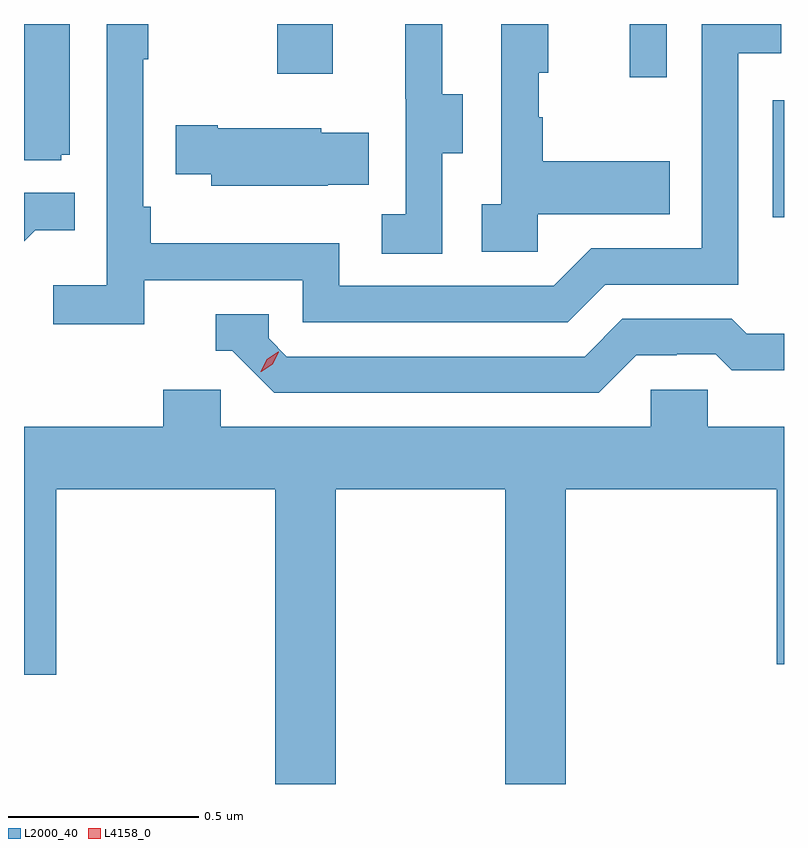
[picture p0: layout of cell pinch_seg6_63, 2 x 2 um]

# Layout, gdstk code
import gdstk
lib = gdstk.Library(unit=1e-6, precision=1e-09)
def R(c, l, rs):  # rectangles x0, y0, x1, y1
    for r in rs: c.add(gdstk.rectangle(r[:2], r[2:], *l))
def P(c, l, *ps):  # polygons
    for p in ps: c.add(gdstk.Polygon(p, *l))
L2000_40 = (2000, 40)
L4158_0 = (4158, 0)

pinch_seg6_63 = lib.new_cell('pinch_seg6_63')
R(pinch_seg6_63, L2000_40, [(1000.296,938.727,1000.326,939.036), (999.92,939.096,1000.017,939.236), (998.992,939.105,999.139,939.236)])
P(pinch_seg6_63, L2000_40, [(999.426,938.896),(999.481,938.896),(999.481,939.051),(999.427,939.051),(999.427,939.236),(999.329,939.236),(999.329,939.039),(999.33,939.039),(999.33,938.735),(999.267,938.735),(999.267,938.632),(999.426,938.632)],
  [(998.642,938.562),(999.06,938.562),(999.06,938.451),(999.757,938.451),(999.856,938.55),(1000.206,938.55),(1000.206,939.159),(1000.319,939.159),(1000.319,939.236),(1000.11,939.236),(1000.11,938.646),(999.819,938.646),(999.72,938.547),(999.156,938.547),(999.156,938.659),(998.66,938.659),(998.66,938.755),(998.64,938.755),(998.64,939.143),(998.653,939.143),(998.653,939.236),(998.544,939.236),(998.544,938.548),(998.403,938.548),(998.403,938.446),(998.642,938.446)],
  [(999.678,938.735),(1000.025,938.735),(1000.025,938.875),(999.691,938.875),(999.691,938.99),(999.681,938.99),(999.681,939.108),(999.706,939.108),(999.706,939.236),(999.582,939.236),(999.582,938.762),(999.531,938.762),(999.531,938.637),(999.678,938.637)],
  [(998.424,938.892),(998.446,938.892),(998.446,939.236),(998.326,939.236),(998.326,938.877),(998.424,938.877)],
  [(999.125,938.813),(999.233,938.813),(999.233,938.95),(999.108,938.95),(999.108,938.962),(998.836,938.962),(998.836,938.97),(998.725,938.97),(998.725,938.84),(998.819,938.84),(998.819,938.81),(999.125,938.81)],
  [(998.355,938.693),(998.459,938.693),(998.459,938.792),(998.326,938.792),(998.326,938.664)],
  [(999.937,938.364),(1000.044,938.364),(1000.044,938.367),(1000.147,938.367),(1000.189,938.325),(1000.326,938.325),(1000.326,938.421),(1000.228,938.421),(1000.189,938.46),(999.9,938.46),(999.801,938.361),(999.018,938.361),(998.97,938.409),(998.97,938.472),(998.831,938.472),(998.831,938.376),(998.874,938.376),(998.985,938.265),(999.838,938.265)],
  [(999.147,938.012),(999.592,938.012),(999.592,937.236),(999.752,937.236),(999.752,938.012),(1000.307,938.012),(1000.307,937.551),(1000.326,937.551),(1000.326,938.176),(1000.125,938.176),(1000.125,938.274),(999.975,938.274),(999.975,938.176),(998.844,938.176),(998.844,938.274),(998.693,938.274),(998.693,938.176),(998.326,938.176),(998.326,937.524),(998.411,937.524),(998.411,938.012),(998.987,938.012),(998.987,937.236),(999.147,937.236)])
P(pinch_seg6_63, L4158_0, [(998.949,938.321),(998.949,938.321),(998.965,938.354),(998.995,938.373),(998.996,938.373),(998.996,938.373),(998.98,938.34),(998.95,938.321)])

lib.write_gds('pinch_seg6_63.gds')
